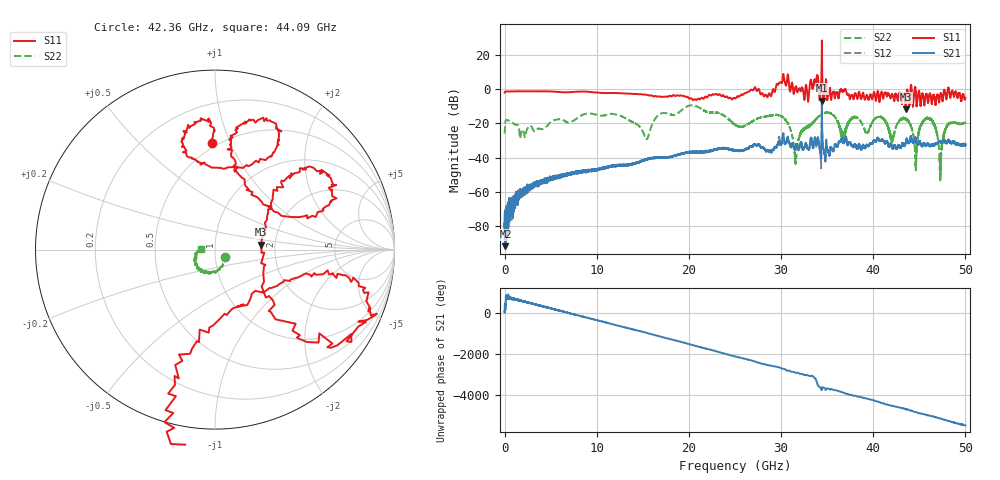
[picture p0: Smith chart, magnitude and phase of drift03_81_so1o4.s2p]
!Created with skrf (http://scikit-rf.org).
# Hz S RI R 50.0
!freq ReS11 ImS11 ReS21 ImS21 ReS12 ImS12 ReS22 ImS22
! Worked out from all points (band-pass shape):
!   10000 points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, 5.3 MHz to 50 GHz, reference 50 ohm
!   highest |S21| = -6.71 dB at 34.43 GHz (marker M1); lowest = -91.5 dB at 90.3 MHz (marker M2)
!   |S21| within 3 dB of the highest: 34.42751 GHz to 34.43519 GHz (7.681 MHz wide, 0.0223 % of centre)
!   lowest |S11| = -11.7 dB at 43.52 GHz (marker M3), VSWR 1.70, Z = 84.6 + j5.02 ohm
!   |S11| at or under -10 dB: 43.48473 GHz to 43.54816 GHz (63.43 MHz wide, 0.146 % of centre); 44.3056 GHz to 44.31911 GHz (13.51 MHz wide, 0.0305 % of centre); 44.32203 GHz to 44.32669 GHz (4.666 MHz wide, 0.0105 % of centre) (the widest 3 of 4)
!   |S22| runs from -54.1 to -9.4 dB; largest |S21 - S12| = 0.13
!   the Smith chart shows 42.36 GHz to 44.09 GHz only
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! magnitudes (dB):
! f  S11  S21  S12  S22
! 5.3 MHz  -2.1  -88.0  -71.9  -25.9
! 90.3 MHz  -1.5  -91.5  -71.7  -18.9
! 2.035 GHz  -1.3  -60.4  -58.2  -24.1
! 8.34 GHz  -1.5  -47.8  -48.5  -15.3
! 15.4 GHz  -3.4  -41.1  -40.9  -29.1
! 16.67 GHz  -4.4  -40.0  -40.0  -15.3
! 20.47 GHz  -6.4  -37.0  -36.8  -9.5
! 25.01 GHz  -5.5  -36.1  -35.8  -20.7
! 29.93 GHz  4.0  -32.2  -31.6  -15.6
! 31.59 GHz  1.4  -33.8  -34.1  -42.9
! 33.34 GHz  2.6  -30.2  -30.4  -20.1
! 34.43 GHz  28.3  -6.7  -8.7  -14.5
! 36.7 GHz  -1.4  -30.1  -30.1  -29.7
! 37.94 GHz  -4.4  -33.0  -32.6  -16.6
! 41.67 GHz  -2.8  -33.2  -33.4  -23.3
! 43.52 GHz  -11.7  -31.5  -31.6  -17.6
! 44.62 GHz  -2.4  -29.2  -29.5  -47.0
! 45.27 GHz  -3.9  -33.2  -33.2  -20.5
! 46.25 GHz  -4.3  -32.9  -33.5  -17.9
! 47.29 GHz  -3.0  -30.7  -30.9  -49.8
! 48.14 GHz  0.8  -29.8  -29.6  -20.8
! 50 GHz  -5.2  -32.0  -32.6  -19.5
